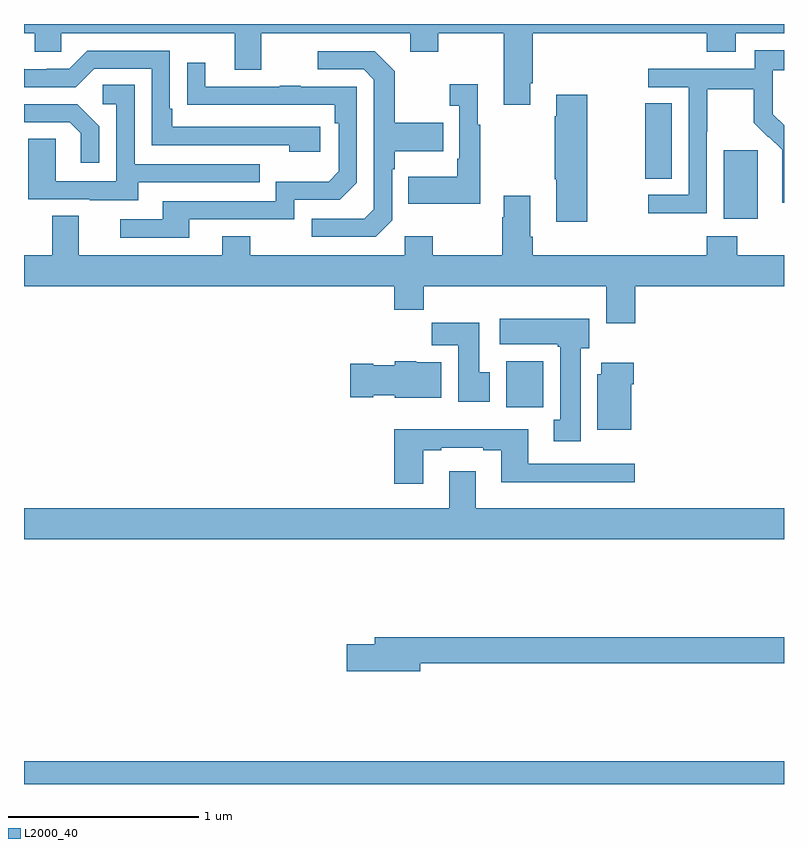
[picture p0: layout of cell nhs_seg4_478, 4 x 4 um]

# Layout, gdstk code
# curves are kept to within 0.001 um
import gdstk
lib = gdstk.Library(unit=1e-6, precision=1e-09)
def R(c, l, rs):  # rectangles x0, y0, x1, y1
    for r in rs: c.add(gdstk.rectangle(r[:2], r[2:], *l))
def P(c, l, *ps):  # polygons
    for p in ps: c.add(gdstk.Polygon(p, *l))
L2000_40 = (2000, 40)

nhs_seg4_478 = lib.new_cell('nhs_seg4_478')
R(nhs_seg4_478, L2000_40, [(135,760.9,139,761.02), (137.537,762.884,137.734,763.126), (138.683,763.874,138.862,764.235), (138.271,764.086,138.409,764.483)])
P(nhs_seg4_478, L2000_40, [(137.665,764.587),(137.678,764.587),(137.678,764.852),(138.593,764.852),(138.593,764.753),(138.745,764.753),(138.745,764.852),(139,764.852),(139,764.9),(135,764.9),(135,764.852),(135.057,764.852),(135.057,764.754),(135.195,764.754),(135.195,764.852),(136.109,764.852),(136.109,764.658),(136.249,764.658),(136.249,764.852),(137.033,764.852),(137.033,764.753),(137.181,764.753),(137.181,764.852),(137.525,764.852),(137.525,764.475),(137.665,764.475)],
  [(138.594,764.332),(138.597,764.332),(138.597,764.556),(138.841,764.556),(138.841,764.381),(138.918,764.304),(138.921,764.307),(138.992,764.237),(138.992,764.114),(138.99,764.114),(138.99,763.96),(139,763.96),(139,764.366),(138.94,764.426),(138.94,764.523),(138.942,764.523),(138.942,764.657),(139,764.657),(139,764.761),(138.846,764.761),(138.846,764.664),(138.285,764.664),(138.285,764.568),(138.498,764.568),(138.498,764.001),(138.285,764.001),(138.285,763.903),(138.594,763.903)],
  [(136.558,764.358),(135.781,764.358),(135.781,764.455),(135.768,764.455),(135.768,764.76),(135.333,764.76),(135.237,764.664),(135.119,764.664),(135.119,764.661),(135.003,764.661),(135,764.664),(135,764.568),(135.273,764.568),(135.369,764.664),(135.672,764.664),(135.672,764.262),(136.397,764.262),(136.397,764.228),(136.558,764.228)],
  [(136.938,763.866),(136.938,764.135),(136.951,764.135),(136.951,764.231),(137.207,764.231),(137.207,764.379),(136.951,764.379),(136.951,764.651),(136.845,764.757),(136.545,764.757),(136.545,764.661),(136.788,764.661),(136.842,764.607),(136.842,763.926),(136.791,763.875),(136.515,763.875),(136.515,763.779),(136.851,763.779)],
  [(135.871,763.872),(136.422,763.872),(136.422,763.974),(136.662,763.974),(136.752,764.064),(136.752,764.571),(136.457,764.571),(136.457,764.576),(136.345,764.576),(136.345,764.571),(135.955,764.571),(135.955,764.695),(135.859,764.695),(135.859,764.476),(136.636,764.475),(136.636,764.378),(136.656,764.378),(136.656,764.124),(136.603,764.071),(136.326,764.071),(136.326,763.968),(135.731,763.968),(135.731,763.872),(135.507,763.872),(135.507,763.776),(135.871,763.776)],
  [(137.401,764.371),(137.389,764.371),(137.389,764.584),(137.241,764.584),(137.241,764.471),(137.292,764.471),(137.292,764.191),(137.28,764.191),(137.28,764.095),(137.023,764.095),(137.023,763.955),(137.401,763.955)],
  [(135.601,764.067),(136.241,764.067),(136.241,764.163),(135.582,764.163),(135.582,764.579),(135.414,764.579),(135.414,764.478),(135.486,764.478),(135.486,764.073),(135.168,764.073),(135.168,764.297),(135.023,764.297),(135.023,763.977),(135.347,763.977),(135.347,763.973),(135.601,763.973)],
  [(137.964,764.527),(137.801,764.527),(137.801,764.414),(137.794,764.414),(137.794,764.083),(137.801,764.083),(137.801,763.86),(137.964,763.86)],
  [(135.396,764.362),(135.28,764.478),(135,764.478),(135,764.382),(135.242,764.382),(135.299,764.325),(135.299,764.169),(135.396,764.169)],
  [(138.218,763.52),(139,763.52),(139,763.684),(138.753,763.684),(138.753,763.783),(138.593,763.783),(138.593,763.684),(137.678,763.684),(137.678,763.78),(137.665,763.78),(137.665,763.996),(137.525,763.996),(137.525,763.883),(137.518,763.883),(137.518,763.684),(137.151,763.684),(137.151,763.783),(137.004,763.783),(137.004,763.684),(136.191,763.684),(136.191,763.783),(136.043,763.783),(136.043,763.684),(135.289,763.684),(135.289,763.892),(135.149,763.892),(135.149,763.684),(135,763.684),(135,763.52),(136.949,763.52),(136.949,763.396),(137.105,763.396),(137.105,763.52),(138.065,763.52),(138.065,763.326),(138.218,763.326)],
  [(137.929,763.194),(137.974,763.194),(137.974,763.348),(137.505,763.348),(137.505,763.214),(137.809,763.214),(137.809,763.201),(137.822,763.201),(137.822,762.818),(137.789,762.818),(137.789,762.705),(137.929,762.705)],
  [(137.452,763.068),(137.395,763.068),(137.395,763.327),(137.146,763.327),(137.146,763.208),(137.285,763.208),(137.285,762.912),(137.452,762.912)],
  [(137.197,763.12),(137.064,763.12),(137.064,763.126),(136.95,763.126),(136.95,763.105),(136.839,763.105),(136.839,763.113),(136.716,763.113),(136.716,762.935),(136.839,762.935),(136.839,762.947),(136.95,762.947),(136.95,762.932),(137.197,762.932)],
  [(138.196,763.004),(138.209,763.004),(138.209,763.117),(138.038,763.117),(138.038,763.056),(138.017,763.056),(138.017,762.764),(138.196,762.764)],
  [(137.101,762.657),(137.197,762.657),(137.197,762.669),(137.417,762.669),(137.417,762.657),(137.513,762.657),(137.513,762.488),(138.214,762.488),(138.214,762.585),(137.653,762.585),(137.653,762.766),(136.949,762.766),(136.949,762.48),(137.101,762.48)],
  [(139,762.352),(137.377,762.352),(137.377,762.547),(137.237,762.547),(137.237,762.352),(135,762.352),(135,762.188),(139,762.188)],
  [(137.086,761.536),(139,761.536),(139,761.672),(136.847,761.672),(136.847,761.636),(136.698,761.636),(136.698,761.494),(137.086,761.494)])

lib.write_gds('nhs_seg4_478.gds')
